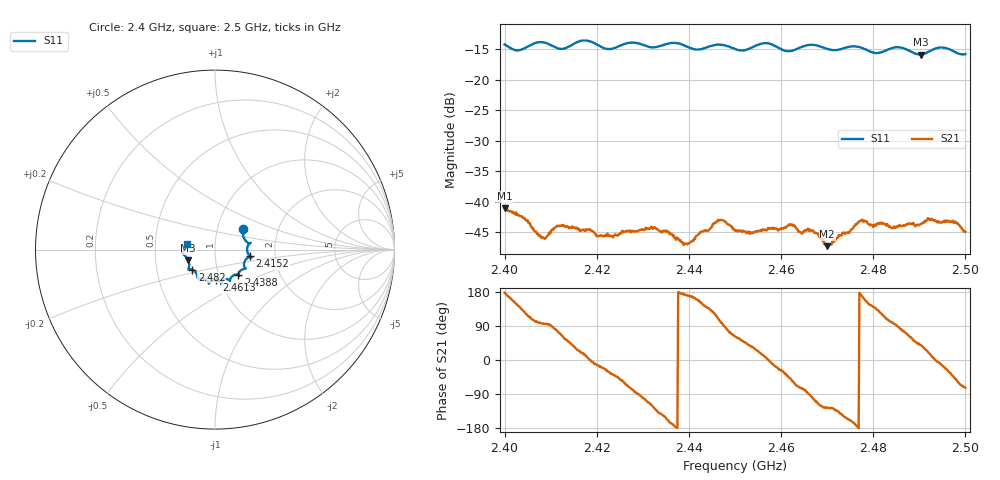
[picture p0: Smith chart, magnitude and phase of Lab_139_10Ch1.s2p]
# Hz S RI R 50
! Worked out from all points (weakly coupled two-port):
!   601 points, 2.4 GHz to 2.5 GHz, reference 50 ohm
!   highest |S21| = -41.08 dB at 2.4 GHz (marker M1); lowest = -47.3 dB at 2.47 GHz (marker M2)
!   lowest |S11| = -15.9 dB at 2.4903 GHz (marker M3), VSWR 1.38, Z = 36.8 - j4.44 ohm
!   |S11| at or under -10 dB: start of sweep to end of sweep
!   S12 and S22 are empty: the file has one direction only
!   S11 on the Smith chart (normalised r, x): 2.4 GHz: 1.33, +0.31; 2.4152 GHz: 1.48, -0.12; 2.4388 GHz: 1.24, -0.36; 2.4613 GHz: 0.96, -0.34; 2.482 GHz: 0.76, -0.17; 2.5 GHz: 0.72, +0.05
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2.4e9  0.1579 0.1126  -0.00883 0.000368  0 0  0 0
2.402833e9  0.1607 0.0653  -0.0063 0.00455  0 0  0 0
2.408333e9  0.1988 0.0375  -0.00048 0.00508  0 0  0 0
2.4115e9  0.1802 0.0133  0.00162 0.00615  0 0  0 0
2.415167e9  0.1941 -0.0375  0.00508 0.00347  0 0  0 0
2.416667e9  0.2037 -0.0442  0.00553 0.00193  0 0  0 0
2.4225e9  0.1655 -0.0655  0.00449 -0.00272  0 0  0 0
2.4275e9  0.1714 -0.1051  0.00143 -0.00559  0 0  0 0
2.433333e9  0.1326 -0.1313  -0.00434 -0.00394  0 0  0 0
2.438833e9  0.1299 -0.1408  -0.00437 0.000565  0 0  0 0
2.446667e9  0.084 -0.1745  -0.00163 0.0068  0 0  0 0
2.45e9  0.0685 -0.1646  0.00272 0.00509  0 0  0 0
2.456833e9  0.0383 -0.195  0.00579 0.00053  0 0  0 0
2.461333e9  0.00791 -0.1709  0.00466 -0.00421  0 0  0 0
2.466667e9  -0.0343 -0.19  -0.000698 -0.00575  0 0  0 0
2.47e9  -0.043 -0.1732  -0.00252 -0.0035  0 0  0 0
2.477167e9  -0.097 -0.1566  -0.00693 0.000698  0 0  0 0
2.482e9  -0.1263 -0.1118  -0.00321 0.00575  0 0  0 0
2.483333e9  -0.1399 -0.1089  -0.00162 0.00612  0 0  0 0
2.490333e9  -0.1495 -0.0588  0.00509 0.00413  0 0  0 0
2.4975e9  -0.1701 -0.00594  0.00467 -0.00475  0 0  0 0
2.5e9  -0.1585 0.033  0.00165 -0.00541  0 0  0 0
